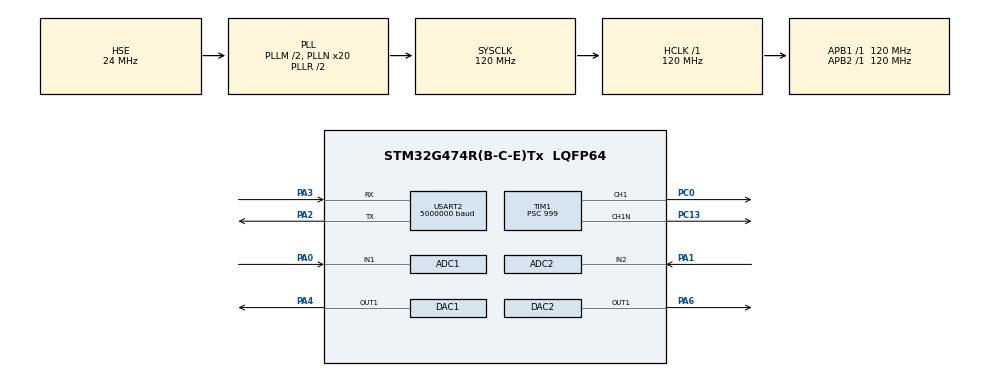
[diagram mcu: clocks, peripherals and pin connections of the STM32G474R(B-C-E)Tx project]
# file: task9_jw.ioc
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ADC1.Channel-2\#ChannelRegularConversion=ADC_CHANNEL_1
ADC1.ClockPrescaler=ADC_CLOCK_ASYNC_DIV4
ADC1.DMAAccessModeView=ENABLE
ADC1.DMAContinuousRequests=ENABLE
ADC1.ExternalTrigConv=ADC_EXTERNALTRIG_T3_TRGO
ADC1.Mode=ADC_DUALMODE_REGSIMULT
ADC1.NbrOfConversionFlag=1
ADC1.OffsetNumber-2\#ChannelRegularConversion=ADC_OFFSET_NONE
ADC1.Rank-2\#ChannelRegularConversion=1
ADC1.SamplingTime-2\#ChannelRegularConversion=ADC_SAMPLETIME_2CYCLES_5
ADC1.master=1
ADC2.Channel-2\#ChannelRegularConversion=ADC_CHANNEL_2
ADC2.ClockPrescaler=ADC_CLOCK_ASYNC_DIV4
ADC2.DMAAccessModeView=ENABLE
ADC2.DMAContinuousRequests=DISABLE
ADC2.Mode=ADC_DUALMODE_REGSIMULT
ADC2.NbrOfConversionFlag=1
ADC2.OffsetNumber-2\#ChannelRegularConversion=ADC_OFFSET_NONE
ADC2.Rank-2\#ChannelRegularConversion=1
ADC2.SamplingTime-2\#ChannelRegularConversion=ADC_SAMPLETIME_2CYCLES_5
DAC1.DAC_Trigger_OUT1-DAC_OUT1=DAC_TRIGGER_T8_TRGO
DAC2.DAC_Trigger_OUT1-DAC_OUT1=DAC_TRIGGER_T8_TRGO
Dma.ADC1.0.Direction=DMA_PERIPH_TO_MEMORY
Dma.ADC1.0.EventEnable=DISABLE
Dma.ADC1.0.Instance=DMA1_Channel1
Dma.ADC1.0.MemDataAlignment=DMA_MDATAALIGN_WORD
Dma.ADC1.0.MemInc=DMA_MINC_ENABLE
Dma.ADC1.0.Mode=DMA_CIRCULAR
Dma.ADC1.0.PeriphDataAlignment=DMA_PDATAALIGN_WORD
Dma.ADC1.0.PeriphInc=DMA_PINC_DISABLE
Dma.ADC1.0.Polarity=HAL_DMAMUX_REQ_GEN_RISING
Dma.ADC1.0.Priority=DMA_PRIORITY_LOW
Dma.ADC1.0.RequestNumber=1
Dma.ADC1.0.SignalID=NONE
Dma.ADC1.0.SyncEnable=DISABLE
Dma.ADC1.0.SyncPolarity=HAL_DMAMUX_SYNC_NO_EVENT
Dma.ADC1.0.SyncRequestNumber=1
Dma.ADC1.0.SyncSignalID=NONE
Dma.DAC1_CH1.1.Direction=DMA_MEMORY_TO_PERIPH
Dma.DAC1_CH1.1.EventEnable=ENABLE
Dma.DAC1_CH1.1.Instance=DMA1_Channel2
Dma.DAC1_CH1.1.MemDataAlignment=DMA_MDATAALIGN_HALFWORD
Dma.DAC1_CH1.1.MemInc=DMA_MINC_ENABLE
Dma.DAC1_CH1.1.Mode=DMA_CIRCULAR
Dma.DAC1_CH1.1.PeriphDataAlignment=DMA_PDATAALIGN_WORD
Dma.DAC1_CH1.1.PeriphInc=DMA_PINC_DISABLE
Dma.DAC1_CH1.1.Polarity=HAL_DMAMUX_REQ_GEN_RISING
Dma.DAC1_CH1.1.Priority=DMA_PRIORITY_LOW
Dma.DAC1_CH1.1.RequestNumber=1
Dma.DAC1_CH1.1.SignalID=NONE
Dma.DAC1_CH1.1.SyncEnable=ENABLE
Dma.DAC1_CH1.1.SyncPolarity=HAL_DMAMUX_SYNC_RISING
Dma.DAC1_CH1.1.SyncRequestNumber=1
Dma.DAC1_CH1.1.SyncSignalID=NONE
Dma.DAC2_CH1.2.Direction=DMA_MEMORY_TO_PERIPH
Dma.DAC2_CH1.2.EventEnable=ENABLE
Dma.DAC2_CH1.2.Instance=DMA1_Channel3
Dma.DAC2_CH1.2.MemDataAlignment=DMA_MDATAALIGN_HALFWORD
Dma.DAC2_CH1.2.MemInc=DMA_MINC_ENABLE
Dma.DAC2_CH1.2.Mode=DMA_CIRCULAR
Dma.DAC2_CH1.2.PeriphDataAlignment=DMA_PDATAALIGN_WORD
Dma.DAC2_CH1.2.PeriphInc=DMA_PINC_DISABLE
Dma.DAC2_CH1.2.Polarity=HAL_DMAMUX_REQ_GEN_RISING
Dma.DAC2_CH1.2.Priority=DMA_PRIORITY_LOW
Dma.DAC2_CH1.2.RequestNumber=1
Dma.DAC2_CH1.2.SignalID=NONE
Dma.DAC2_CH1.2.SyncEnable=ENABLE
Dma.DAC2_CH1.2.SyncPolarity=HAL_DMAMUX_SYNC_RISING
Dma.DAC2_CH1.2.SyncRequestNumber=1
Dma.DAC2_CH1.2.SyncSignalID=HAL_DMAMUX1_SYNC_DMAMUX1_CH1_EVT
Dma.Request0=ADC1
Dma.Request1=DAC1_CH1
Dma.Request2=DAC2_CH1
Mcu.Family=STM32G4
Mcu.Name=STM32G474R(B-C-E)Tx
Mcu.Package=LQFP64
NVIC.DMA1_Channel1_IRQn=true\:0\:0\:false\:false\:true\:false\:true\:true
NVIC.DMA1_Channel2_IRQn=true\:0\:0\:false\:false\:true\:false\:true\:true
NVIC.DMA1_Channel3_IRQn=true\:0\:0\:false\:false\:true\:false\:true\:true
NVIC.DMAMUX_OVR_IRQn=true\:0\:0\:false\:false\:true\:false\:true\:true
NVIC.PriorityGroup=NVIC_PRIORITYGROUP_4
PA0.Mode=IN1-Single-Ended
PA0.Signal=ADC1_IN1
PA1.Mode=IN2-Single-Ended
PA1.Signal=ADC2_IN2
PA13.Mode=Serial_Wire
PA13.Signal=SYS_JTMS-SWDIO
PA14.Mode=Serial_Wire
PA14.Signal=SYS_JTCK-SWCLK
PA2.Mode=Asynchronous
PA2.Signal=USART2_TX
PA3.Mode=Asynchronous
PA3.Signal=USART2_RX
PA4.Signal=COMP_DAC11_group
PA6.Signal=COMP_DAC21_group
PC0.Signal=S_TIM1_CH1
PC13.Mode=PWM Generation1 CH1 CH1N
PC13.Signal=TIM1_CH1N
PC14-OSC32_IN.Mode=LSE-External-Oscillator
PC14-OSC32_IN.Signal=RCC_OSC32_IN
PC15-OSC32_OUT.Mode=LSE-External-Oscillator
PC15-OSC32_OUT.Signal=RCC_OSC32_OUT
PF0-OSC_IN.Mode=HSE-External-Oscillator
PF0-OSC_IN.Signal=RCC_OSC_IN
PF1-OSC_OUT.Mode=HSE-External-Oscillator
PF1-OSC_OUT.Signal=RCC_OSC_OUT
ProjectManager.HeapSize=0x200
ProjectManager.StackSize=0x400
ProjectManager.TargetToolchain=STM32CubeIDE
RCC.ADC12CLockSelection=RCC_ADC12CLKSOURCE_PLL
RCC.ADC12Freq_Value=30000000
RCC.ADC345Freq_Value=120000000
RCC.AHBFreq_Value=120000000
RCC.APB1Freq_Value=120000000
RCC.APB1TimFreq_Value=120000000
RCC.APB2Freq_Value=120000000
RCC.APB2TimFreq_Value=120000000
RCC.CortexFreq_Value=120000000
RCC.EXTERNAL_CLOCK_VALUE=12288000
RCC.HCLKFreq_Value=120000000
RCC.HSE_VALUE=24000000
RCC.HSI48_VALUE=48000000
RCC.HSI_VALUE=16000000
RCC.PLLM=RCC_PLLM_DIV2
RCC.PLLN=20
RCC.PLLP=RCC_PLLP_DIV8
RCC.PLLSourceVirtual=RCC_PLLSOURCE_HSE
RCC.SYSCLKFreq_VALUE=120000000
RCC.SYSCLKSource=RCC_SYSCLKSOURCE_PLLCLK
RCC.USBFreq_Value=120000000
RCC.VCOOutputFreq_Value=240000000
SH.COMP_DAC11_group.0=DAC1_OUT1,DAC_OUT1
SH.COMP_DAC21_group.0=DAC2_OUT1,DAC_OUT1
SH.S_TIM1_CH1.0=TIM1_CH1,PWM Generation1 CH1 CH1N
TIM1.Channel-PWM\ Generation1\ CH1\ CH1N=TIM_CHANNEL_1
TIM1.DeadTime=100
TIM1.PeriodNoDither=266
TIM1.Prescaler=999
TIM1.PulseNoDither_1=50
TIM3.PeriodNoDither=49
TIM3.Prescaler=119
TIM3.TIM_MasterOutputTrigger=TIM_TRGO_UPDATE
TIM8.PeriodNoDither=99
TIM8.Prescaler=119
TIM8.TIM_MasterOutputTrigger=TIM_TRGO_UPDATE
USART2.BaudRate=5000000
USART2.VirtualMode-Asynchronous=VM_ASYNC
VP_SYS_VS_DBSignals.Mode=DisableDeadBatterySignals
VP_TIM1_VS_ClockSourceINT.Mode=Internal
VP_TIM3_VS_ClockSourceINT.Mode=Internal
VP_TIM8_VS_ClockSourceINT.Mode=Internal
board=custom

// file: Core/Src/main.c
/* USER CODE BEGIN Header */
/**
  ******************************************************************************
  * @file           : main.c
  * @brief          : Main program body
  ******************************************************************************
  * @attention
  *
  * Copyright (c) 2024 STMicroelectronics.
  * All rights reserved.
  *
  * This software is licensed under terms that can be found in the LICENSE file
  * in the root directory of this software component.
  * If no LICENSE file comes with this software, it is provided AS-IS.
  *
  ******************************************************************************
  */
/* USER CODE END Header */
#include "main.h"

ADC_HandleTypeDef hadc1;
ADC_HandleTypeDef hadc2;
DMA_HandleTypeDef hdma_adc1;

DAC_HandleTypeDef hdac1;
DAC_HandleTypeDef hdac2;
DMA_HandleTypeDef hdma_dac1_ch1;
DMA_HandleTypeDef hdma_dac2_ch1;

TIM_HandleTypeDef htim1;
TIM_HandleTypeDef htim3;
TIM_HandleTypeDef htim8;

UART_HandleTypeDef huart2;

/* USER CODE BEGIN PV */
uint16_t ADC1ConvertedData[ADC_CONVERTED_DATA_BUFFER_SIZE];
uint16_t ADC2ConvertedData[ADC_CONVERTED_DATA_BUFFER_SIZE];
uint8_t ADCDMAFlag = 0;
uint16_t FrameHeader = 0x5353;
uint16_t FrameTerm = 0x4545;
/* USER CODE END PV */

void SystemClock_Config(void);
static void MX_GPIO_Init(void);
static void MX_DMA_Init(void);
static void MX_ADC1_Init(void);
static void MX_ADC2_Init(void);
static void MX_TIM3_Init(void);
static void MX_USART2_UART_Init(void);
static void MX_DAC1_Init(void);
static void MX_TIM8_Init(void);
static void MX_DAC2_Init(void);
static void MX_TIM1_Init(void);

int main(void)
{

  /* MCU Configuration--------------------------------------------------------*/

  /* Reset of all peripherals, Initializes the Flash interface and the Systick. */
  HAL_Init();

  /* Configure the system clock */
  SystemClock_Config();

  /* Initialize all configured peripherals */
  MX_GPIO_Init();
  MX_DMA_Init();
  MX_ADC1_Init();
  MX_ADC2_Init();
  MX_TIM3_Init();
  MX_USART2_UART_Init();
  MX_DAC1_Init();
  MX_TIM8_Init();
  MX_DAC2_Init();
  MX_TIM1_Init();
  /* USER CODE BEGIN 2 */
  HAL_ADCEx_Calibration_Start(&hadc1, ADC_SINGLE_ENDED);
  HAL_ADCEx_Calibration_Start(&hadc2, ADC_SINGLE_ENDED);
  HAL_ADC_Start(&hadc2);			//允许ADC2转换
  HAL_ADCEx_MultiModeStart_DMA(&hadc1,(uint32_t*)&ADC1ConvertedData,ADC_CONVERTED_DATA_BUFFER_SIZE);  //启动ADC1的DMA方式
  HAL_TIM_Base_Start(&htim1);
  HAL_TIM_Base_Start(&htim3);
  HAL_TIM_PWM_Start(&htim1,TIM_CHANNEL_1);
  HAL_TIMEx_PWMN_Start(&htim1,TIM_CHANNEL_1);
  /* USER CODE END 2 */

  /* Infinite loop */
  while (1)
  {

  }
}

void SystemClock_Config(void)
{
  RCC_OscInitTypeDef RCC_OscInitStruct = {0};
  RCC_ClkInitTypeDef RCC_ClkInitStruct = {0};

  /** Configure the main internal regulator output voltage
  */
  HAL_PWREx_ControlVoltageScaling(PWR_REGULATOR_VOLTAGE_SCALE1);
  /** Initializes the RCC Oscillators according to the specified parameters
  * in the RCC_OscInitTypeDef structure.
  */
  RCC_OscInitStruct.OscillatorType = RCC_OSCILLATORTYPE_HSE;
  RCC_OscInitStruct.HSEState = RCC_HSE_ON;
  RCC_OscInitStruct.PLL.PLLState = RCC_PLL_ON;
  RCC_OscInitStruct.PLL.PLLSource = RCC_PLLSOURCE_HSE;
  RCC_OscInitStruct.PLL.PLLM = RCC_PLLM_DIV2;
  RCC_OscInitStruct.PLL.PLLN = 20;
  RCC_OscInitStruct.PLL.PLLP = RCC_PLLP_DIV8;
  RCC_OscInitStruct.PLL.PLLQ = RCC_PLLQ_DIV2;
  RCC_OscInitStruct.PLL.PLLR = RCC_PLLR_DIV2;
  if (HAL_RCC_OscConfig(&RCC_OscInitStruct) != HAL_OK)
  {
    Error_Handler();
  }
  /** Initializes the CPU, AHB and APB buses clocks
  */
  RCC_ClkInitStruct.ClockType = RCC_CLOCKTYPE_HCLK|RCC_CLOCKTYPE_SYSCLK
                              |RCC_CLOCKTYPE_PCLK1|RCC_CLOCKTYPE_PCLK2;
  RCC_ClkInitStruct.SYSCLKSource = RCC_SYSCLKSOURCE_PLLCLK;
  RCC_ClkInitStruct.AHBCLKDivider = RCC_SYSCLK_DIV1;
  RCC_ClkInitStruct.APB1CLKDivider = RCC_HCLK_DIV1;
  RCC_ClkInitStruct.APB2CLKDivider = RCC_HCLK_DIV1;

  if (HAL_RCC_ClockConfig(&RCC_ClkInitStruct, FLASH_LATENCY_3) != HAL_OK)
  {
    Error_Handler();
  }
}

static void MX_ADC1_Init(void)
{

  ADC_MultiModeTypeDef multimode = {0};
  ADC_ChannelConfTypeDef sConfig = {0};

  /** Common config
  */
  hadc1.Instance = ADC1;
  hadc1.Init.ClockPrescaler = ADC_CLOCK_ASYNC_DIV4;
  hadc1.Init.Resolution = ADC_RESOLUTION_12B;
  hadc1.Init.DataAlign = ADC_DATAALIGN_RIGHT;
  hadc1.Init.GainCompensation = 0;
  hadc1.Init.ScanConvMode = ADC_SCAN_DISABLE;
  hadc1.Init.EOCSelection = ADC_EOC_SINGLE_CONV;
  hadc1.Init.LowPowerAutoWait = DISABLE;
  hadc1.Init.ContinuousConvMode = DISABLE;
  hadc1.Init.NbrOfConversion = 1;
  hadc1.Init.DiscontinuousConvMode = DISABLE;
  hadc1.Init.ExternalTrigConv = ADC_EXTERNALTRIG_T3_TRGO;
  hadc1.Init.ExternalTrigConvEdge = ADC_EXTERNALTRIGCONVEDGE_RISING;
  hadc1.Init.DMAContinuousRequests = ENABLE;
  hadc1.Init.Overrun = ADC_OVR_DATA_PRESERVED;
  hadc1.Init.OversamplingMode = DISABLE;
  if (HAL_ADC_Init(&hadc1) != HAL_OK)
  {
    Error_Handler();
  }
  /** Configure the ADC multi-mode
  */
  multimode.Mode = ADC_DUALMODE_REGSIMULT;
  multimode.DMAAccessMode = ADC_DMAACCESSMODE_12_10_BITS;
  multimode.TwoSamplingDelay = ADC_TWOSAMPLINGDELAY_1CYCLE;
  if (HAL_ADCEx_MultiModeConfigChannel(&hadc1, &multimode) != HAL_OK)
  {
    Error_Handler();
  }
  /** Configure Regular Channel
  */
  sConfig.Channel = ADC_CHANNEL_1;
  sConfig.Rank = ADC_REGULAR_RANK_1;
  sConfig.SamplingTime = ADC_SAMPLETIME_2CYCLES_5;
  sConfig.SingleDiff = ADC_SINGLE_ENDED;
  sConfig.OffsetNumber = ADC_OFFSET_NONE;
  sConfig.Offset = 0;
  if (HAL_ADC_ConfigChannel(&hadc1, &sConfig) != HAL_OK)
  {
    Error_Handler();
  }

}

static void MX_ADC2_Init(void)
{

  ADC_ChannelConfTypeDef sConfig = {0};

  /** Common config
  */
  hadc2.Instance = ADC2;
  hadc2.Init.ClockPrescaler = ADC_CLOCK_ASYNC_DIV4;
  hadc2.Init.Resolution = ADC_RESOLUTION_12B;
  hadc2.Init.DataAlign = ADC_DATAALIGN_RIGHT;
  hadc2.Init.GainCompensation = 0;
  hadc2.Init.ScanConvMode = ADC_SCAN_DISABLE;
  hadc2.Init.EOCSelection = ADC_EOC_SINGLE_CONV;
  hadc2.Init.LowPowerAutoWait = DISABLE;
  hadc2.Init.ContinuousConvMode = DISABLE;
  hadc2.Init.NbrOfConversion = 1;
  hadc2.Init.DiscontinuousConvMode = DISABLE;
  hadc2.Init.DMAContinuousRequests = DISABLE;
  hadc2.Init.Overrun = ADC_OVR_DATA_PRESERVED;
  hadc2.Init.OversamplingMode = DISABLE;
  if (HAL_ADC_Init(&hadc2) != HAL_OK)
  {
    Error_Handler();
  }
  /** Configure Regular Channel
  */
  sConfig.Channel = ADC_CHANNEL_2;
  sConfig.Rank = ADC_REGULAR_RANK_1;
  sConfig.SamplingTime = ADC_SAMPLETIME_2CYCLES_5;
  sConfig.SingleDiff = ADC_SINGLE_ENDED;
  sConfig.OffsetNumber = ADC_OFFSET_NONE;
  sConfig.Offset = 0;
  if (HAL_ADC_ConfigChannel(&hadc2, &sConfig) != HAL_OK)
  {
    Error_Handler();
  }

}

static void MX_DAC1_Init(void)
{

  DAC_ChannelConfTypeDef sConfig = {0};

  /** DAC Initialization
  */
  hdac1.Instance = DAC1;
  if (HAL_DAC_Init(&hdac1) != HAL_OK)
  {
    Error_Handler();
  }
  /** DAC channel OUT1 config
  */
  sConfig.DAC_HighFrequency = DAC_HIGH_FREQUENCY_INTERFACE_MODE_AUTOMATIC;
  sConfig.DAC_DMADoubleDataMode = DISABLE;
  sConfig.DAC_SignedFormat = DISABLE;
  sConfig.DAC_SampleAndHold = DAC_SAMPLEANDHOLD_DISABLE;
  sConfig.DAC_Trigger = DAC_TRIGGER_T8_TRGO;
  sConfig.DAC_Trigger2 = DAC_TRIGGER_NONE;
  sConfig.DAC_OutputBuffer = DAC_OUTPUTBUFFER_ENABLE;
  sConfig.DAC_ConnectOnChipPeripheral = DAC_CHIPCONNECT_EXTERNAL;
  sConfig.DAC_UserTrimming = DAC_TRIMMING_FACTORY;
  if (HAL_DAC_ConfigChannel(&hdac1, &sConfig, DAC_CHANNEL_1) != HAL_OK)
  {
    Error_Handler();
  }

}

static void MX_DAC2_Init(void)
{

  DAC_ChannelConfTypeDef sConfig = {0};

  /** DAC Initialization
  */
  hdac2.Instance = DAC2;
  if (HAL_DAC_Init(&hdac2) != HAL_OK)
  {
    Error_Handler();
  }
  /** DAC channel OUT1 config
  */
  sConfig.DAC_HighFrequency = DAC_HIGH_FREQUENCY_INTERFACE_MODE_AUTOMATIC;
  sConfig.DAC_DMADoubleDataMode = DISABLE;
  sConfig.DAC_SignedFormat = DISABLE;
  sConfig.DAC_SampleAndHold = DAC_SAMPLEANDHOLD_DISABLE;
  sConfig.DAC_Trigger = DAC_TRIGGER_T8_TRGO;
  sConfig.DAC_Trigger2 = DAC_TRIGGER_NONE;
  sConfig.DAC_OutputBuffer = DAC_OUTPUTBUFFER_ENABLE;
  sConfig.DAC_ConnectOnChipPeripheral = DAC_CHIPCONNECT_EXTERNAL;
  sConfig.DAC_UserTrimming = DAC_TRIMMING_FACTORY;
  if (HAL_DAC_ConfigChannel(&hdac2, &sConfig, DAC_CHANNEL_1) != HAL_OK)
  {
    Error_Handler();
  }

}

static void MX_TIM1_Init(void)
{

  TIM_ClockConfigTypeDef sClockSourceConfig = {0};
  TIM_MasterConfigTypeDef sMasterConfig = {0};
  TIM_OC_InitTypeDef sConfigOC = {0};
  TIM_BreakDeadTimeConfigTypeDef sBreakDeadTimeConfig = {0};

  htim1.Instance = TIM1;
  htim1.Init.Prescaler = 999;
  htim1.Init.CounterMode = TIM_COUNTERMODE_UP;
  htim1.Init.Period = 266;
  htim1.Init.ClockDivision = TIM_CLOCKDIVISION_DIV1;
  htim1.Init.RepetitionCounter = 0;
  htim1.Init.AutoReloadPreload = TIM_AUTORELOAD_PRELOAD_DISABLE;
  if (HAL_TIM_Base_Init(&htim1) != HAL_OK)
  {
    Error_Handler();
  }
  sClockSourceConfig.ClockSource = TIM_CLOCKSOURCE_INTERNAL;
  if (HAL_TIM_ConfigClockSource(&htim1, &sClockSourceConfig) != HAL_OK)
  {
    Error_Handler();
  }
  if (HAL_TIM_PWM_Init(&htim1) != HAL_OK)
  {
    Error_Handler();
  }
  sMasterConfig.MasterOutputTrigger = TIM_TRGO_RESET;
  sMasterConfig.MasterOutputTrigger2 = TIM_TRGO2_RESET;
  sMasterConfig.MasterSlaveMode = TIM_MASTERSLAVEMODE_DISABLE;
  if (HAL_TIMEx_MasterConfigSynchronization(&htim1, &sMasterConfig) != HAL_OK)
  {
    Error_Handler();
  }
  sConfigOC.OCMode = TIM_OCMODE_PWM1;
  sConfigOC.Pulse = 50;
  sConfigOC.OCPolarity = TIM_OCPOLARITY_HIGH;
  sConfigOC.OCNPolarity = TIM_OCNPOLARITY_HIGH;
  sConfigOC.OCFastMode = TIM_OCFAST_DISABLE;
  sConfigOC.OCIdleState = TIM_OCIDLESTATE_RESET;
  sConfigOC.OCNIdleState = TIM_OCNIDLESTATE_RESET;
  if (HAL_TIM_PWM_ConfigChannel(&htim1, &sConfigOC, TIM_CHANNEL_1) != HAL_OK)
  {
    Error_Handler();
  }
  sBreakDeadTimeConfig.OffStateRunMode = TIM_OSSR_DISABLE;
  sBreakDeadTimeConfig.OffStateIDLEMode = TIM_OSSI_DISABLE;
  sBreakDeadTimeConfig.LockLevel = TIM_LOCKLEVEL_OFF;
  sBreakDeadTimeConfig.DeadTime = 100;
  sBreakDeadTimeConfig.BreakState = TIM_BREAK_DISABLE;
  sBreakDeadTimeConfig.BreakPolarity = TIM_BREAKPOLARITY_HIGH;
  sBreakDeadTimeConfig.BreakFilter = 0;
  sBreakDeadTimeConfig.BreakAFMode = TIM_BREAK_AFMODE_INPUT;
  sBreakDeadTimeConfig.Break2State = TIM_BREAK2_DISABLE;
  sBreakDeadTimeConfig.Break2Polarity = TIM_BREAK2POLARITY_HIGH;
  sBreakDeadTimeConfig.Break2Filter = 0;
  sBreakDeadTimeConfig.Break2AFMode = TIM_BREAK_AFMODE_INPUT;
  sBreakDeadTimeConfig.AutomaticOutput = TIM_AUTOMATICOUTPUT_DISABLE;
  if (HAL_TIMEx_ConfigBreakDeadTime(&htim1, &sBreakDeadTimeConfig) != HAL_OK)
  {
    Error_Handler();
  }
  HAL_TIM_MspPostInit(&htim1);

}

static void MX_TIM3_Init(void)
{

  TIM_ClockConfigTypeDef sClockSourceConfig = {0};
  TIM_MasterConfigTypeDef sMasterConfig = {0};

  htim3.Instance = TIM3;
  htim3.Init.Prescaler = 119;
  htim3.Init.CounterMode = TIM_COUNTERMODE_UP;
  htim3.Init.Period = 49;
  htim3.Init.ClockDivision = TIM_CLOCKDIVISION_DIV1;
  htim3.Init.AutoReloadPreload = TIM_AUTORELOAD_PRELOAD_DISABLE;
  if (HAL_TIM_Base_Init(&htim3) != HAL_OK)
  {
    Error_Handler();
  }
  sClockSourceConfig.ClockSource = TIM_CLOCKSOURCE_INTERNAL;
  if (HAL_TIM_ConfigClockSource(&htim3, &sClockSourceConfig) != HAL_OK)
  {
    Error_Handler();
  }
  sMasterConfig.MasterOutputTrigger = TIM_TRGO_UPDATE;
  sMasterConfig.MasterSlaveMode = TIM_MASTERSLAVEMODE_DISABLE;
  if (HAL_TIMEx_MasterConfigSynchronization(&htim3, &sMasterConfig) != HAL_OK)
  {
    Error_Handler();
  }

}

static void MX_TIM8_Init(void)
{

  TIM_ClockConfigTypeDef sClockSourceConfig = {0};
  TIM_MasterConfigTypeDef sMasterConfig = {0};

  htim8.Instance = TIM8;
  htim8.Init.Prescaler = 119;
  htim8.Init.CounterMode = TIM_COUNTERMODE_UP;
  htim8.Init.Period = 99;
  htim8.Init.ClockDivision = TIM_CLOCKDIVISION_DIV1;
  htim8.Init.RepetitionCounter = 0;
  htim8.Init.AutoReloadPreload = TIM_AUTORELOAD_PRELOAD_DISABLE;
  if (HAL_TIM_Base_Init(&htim8) != HAL_OK)
  {
    Error_Handler();
  }
  sClockSourceConfig.ClockSource = TIM_CLOCKSOURCE_INTERNAL;
  if (HAL_TIM_ConfigClockSource(&htim8, &sClockSourceConfig) != HAL_OK)
  {
    Error_Handler();
  }
  sMasterConfig.MasterOutputTrigger = TIM_TRGO_UPDATE;
  sMasterConfig.MasterOutputTrigger2 = TIM_TRGO2_RESET;
  sMasterConfig.MasterSlaveMode = TIM_MASTERSLAVEMODE_DISABLE;
  if (HAL_TIMEx_MasterConfigSynchronization(&htim8, &sMasterConfig) != HAL_OK)
  {
    Error_Handler();
  }

}

static void MX_USART2_UART_Init(void)
{

  huart2.Instance = USART2;
  huart2.Init.BaudRate = 5000000;
  huart2.Init.WordLength = UART_WORDLENGTH_8B;
  huart2.Init.StopBits = UART_STOPBITS_1;
  huart2.Init.Parity = UART_PARITY_NONE;
  huart2.Init.Mode = UART_MODE_TX_RX;
  huart2.Init.HwFlowCtl = UART_HWCONTROL_NONE;
  huart2.Init.OverSampling = UART_OVERSAMPLING_16;
  huart2.Init.OneBitSampling = UART_ONE_BIT_SAMPLE_DISABLE;
  huart2.Init.ClockPrescaler = UART_PRESCALER_DIV1;
  huart2.AdvancedInit.AdvFeatureInit = UART_ADVFEATURE_NO_INIT;
  if (HAL_UART_Init(&huart2) != HAL_OK)
  {
    Error_Handler();
  }
  if (HAL_UARTEx_SetTxFifoThreshold(&huart2, UART_TXFIFO_THRESHOLD_1_8) != HAL_OK)
  {
    Error_Handler();
  }
  if (HAL_UARTEx_SetRxFifoThreshold(&huart2, UART_RXFIFO_THRESHOLD_1_8) != HAL_OK)
  {
    Error_Handler();
  }
  if (HAL_UARTEx_DisableFifoMode(&huart2) != HAL_OK)
  {
    Error_Handler();
  }

}

static void MX_DMA_Init(void)
{

  /* DMA controller clock enable */
  __HAL_RCC_DMAMUX1_CLK_ENABLE();
  __HAL_RCC_DMA1_CLK_ENABLE();

  /* DMA interrupt init */
  /* DMA1_Channel1_IRQn interrupt configuration */
  HAL_NVIC_SetPriority(DMA1_Channel1_IRQn, 0, 0);
  HAL_NVIC_EnableIRQ(DMA1_Channel1_IRQn);
  /* DMA1_Channel2_IRQn interrupt configuration */
  HAL_NVIC_SetPriority(DMA1_Channel2_IRQn, 0, 0);
  HAL_NVIC_EnableIRQ(DMA1_Channel2_IRQn);
  /* DMA1_Channel3_IRQn interrupt configuration */
  HAL_NVIC_SetPriority(DMA1_Channel3_IRQn, 0, 0);
  HAL_NVIC_EnableIRQ(DMA1_Channel3_IRQn);
  /* DMAMUX_OVR_IRQn interrupt configuration */
  HAL_NVIC_SetPriority(DMAMUX_OVR_IRQn, 0, 0);
  HAL_NVIC_EnableIRQ(DMAMUX_OVR_IRQn);

}

static void MX_GPIO_Init(void)
{

  /* GPIO Ports Clock Enable */
  __HAL_RCC_GPIOC_CLK_ENABLE();
  __HAL_RCC_GPIOF_CLK_ENABLE();
  __HAL_RCC_GPIOA_CLK_ENABLE();

}

/* USER CODE BEGIN 4 */
/*void HAL_ADC_ConvCpltCallback(ADC_HandleTypeDef *hadc)
{
	if(hadc == (&hadc1))
	{
//		HAL_UART_Transmit(&huart2, (uint8_t * ) &FrameHeader, 2, 0xFFFF);
		HAL_UART_Transmit(&huart2, (uint8_t * ) &ADC1ConvertedData, ADC_CONVERTED_DATA_BUFFER_SIZE*2, 0xFFFF);
		HAL_UART_Transmit(&huart2, (uint8_t * ) &ADC2ConvertedData, ADC_CONVERTED_DATA_BUFFER_SIZE*2, 0xFFFF);
//		HAL_UART_Transmit(&huart2, (uint8_t * ) &FrameTerm, 2, 0xFFFF);
	}
	else if(hadc == (&hadc2))
	{
//		HAL_UART_Transmit(&huart2, (uint8_t * ) &FrameHeader, 2, 0xFFFF);
//		HAL_UART_Transmit(&huart2, (uint8_t * ) &ADC1ConvertedData, ADC_CONVERTED_DATA_BUFFER_SIZE*2, 0xFFFF);
//		HAL_UART_Transmit(&huart2, (uint8_t * ) &ADC2ConvertedData, ADC_CONVERTED_DATA_BUFFER_SIZE*2, 0xFFFF);
//		HAL_UART_Transmit(&huart2, (uint8_t * ) &FrameTerm, 2, 0xFFFF);
	}
}
*/
void HAL_ADC_ConvCpltCallback(ADC_HandleTypeDef* hadc)		//DMA转换完成回调函数
{
	HAL_UART_Transmit(&huart2, (uint8_t * ) &FrameHeader, 2, 0xFFFF);  //发�?�字�??
	HAL_UART_Transmit(&huart2, (uint8_t * ) ADC1ConvertedData,ADC_CONVERTED_DATA_BUFFER_SIZE* 4, 0xFFFF);  //发�?�DMA内数�??
	                                                                 //由于�??32位数据转化为8位数据串口传输的结果本身符合wav的数据格式要求，故直接输出即�??
	HAL_UART_Transmit(&huart2, (uint8_t * ) &FrameTerm, 2, 0xFFFF);  //发�?�字�??
}

//void HAL_ADC_ConvHalfCpltCallback(ADC_HandleTypeDef* hadc)
//{
//		ADCDMAFlag = 1;
//}
/* USER CODE END 4 */

void Error_Handler(void)
{
  __disable_irq();
  while (1)
  {
  }
}
